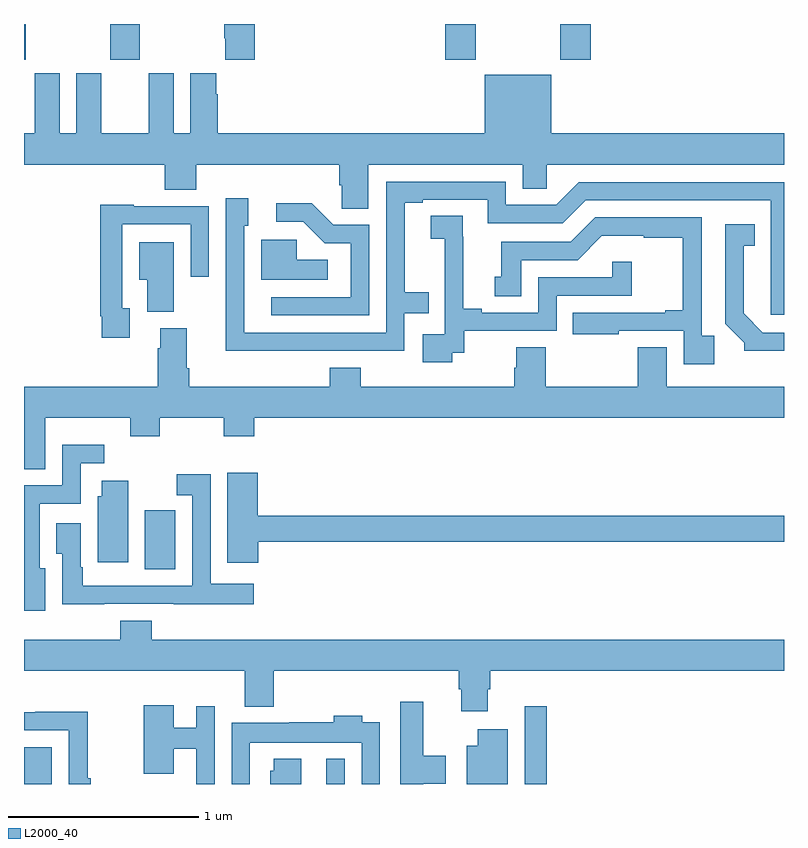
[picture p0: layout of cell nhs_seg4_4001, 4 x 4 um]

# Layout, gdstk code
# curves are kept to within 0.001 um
import gdstk
lib = gdstk.Library(unit=1e-6, precision=1e-09)
def R(c, l, rs):  # rectangles x0, y0, x1, y1
    for r in rs: c.add(gdstk.rectangle(r[:2], r[2:], *l))
def P(c, l, *ps):  # polygons
    for p in ps: c.add(gdstk.Polygon(p, *l))
L2000_40 = (2000, 40)

nhs_seg4_4001 = lib.new_cell('nhs_seg4_4001')
R(nhs_seg4_4001, L2000_40, [(323,786.9,323.146,787.093), (324.59,786.9,324.687,787.033), (325.635,786.9,325.751,787.309), (323.636,788.029,323.797,788.34), (323,790.713,323.01,790.9), (323.455,790.713,323.61,790.9), (325.217,790.713,325.377,790.9), (325.822,790.713,325.982,790.9)])
P(nhs_seg4_4001, L2000_40, [(324.215,790.9),(324.055,790.9),(324.055,790.825),(324.059,790.825),(324.059,790.713),(324.215,790.713)],
  [(324.811,790.16),(325.625,790.16),(325.625,790.033),(325.752,790.033),(325.752,790.16),(327,790.16),(327,790.324),(325.774,790.324),(325.774,790.633),(325.424,790.633),(325.424,790.324),(324.02,790.324),(324.02,790.529),(324.013,790.529),(324.013,790.642),(323.876,790.642),(323.876,790.324),(323.788,790.324),(323.788,790.642),(323.657,790.642),(323.657,790.324),(323.407,790.324),(323.407,790.642),(323.276,790.642),(323.276,790.324),(323.188,790.324),(323.188,790.642),(323.057,790.642),(323.057,790.324),(323,790.324),(323,790.16),(323.741,790.16),(323.741,790.027),(323.906,790.027),(323.906,790.16),(324.659,790.16),(324.659,790.051),(324.672,790.051),(324.672,789.928),(324.811,789.928)],
  [(324.524,789.18),(325.002,789.18),(325.002,789.378),(325.13,789.378),(325.13,789.487),(325.003,789.487),(325.003,789.96),(325.099,789.96),(325.099,789.975),(325.44,789.975),(325.44,789.852),(325.836,789.852),(325.956,789.972),(326.931,789.972),(326.93,789.369),(327,789.369),(327,790.068),(325.92,790.068),(325.8,789.948),(325.536,789.948),(325.536,790.071),(324.906,790.071),(324.906,789.276),(324.159,789.276),(324.159,789.837),(324.181,789.837),(324.181,789.982),(324.063,789.982),(324.062,789.179)],
  [(324.816,789.843),(324.627,789.843),(324.514,789.956),(324.327,789.956),(324.327,789.858),(324.471,789.858),(324.582,789.747),(324.72,789.747),(324.72,789.462),(324.3,789.462),(324.3,789.366),(324.816,789.366)],
  [(323.557,789.405),(323.517,789.405),(323.517,789.846),(323.877,789.846),(323.877,789.57),(323.973,789.57),(323.973,789.942),(323.577,789.942),(323.577,789.949),(323.401,789.949),(323.401,789.361),(323.409,789.361),(323.409,789.249),(323.557,789.249)],
  [(325.254,789.171),(325.316,789.171),(325.316,789.285),(325.803,789.285),(325.803,789.471),(326.198,789.471),(326.198,789.649),(326.097,789.649),(326.097,789.567),(325.707,789.567),(325.707,789.381),(325.408,789.381),(325.408,789.401),(325.312,789.401),(325.312,789.779),(325.31,789.779),(325.31,789.89),(325.14,789.89),(325.14,789.769),(325.214,789.769),(325.214,789.571),(325.215,789.571),(325.215,789.267),(325.098,789.267),(325.098,789.12),(325.254,789.12)],
  [(326.633,789.259),(326.568,789.259),(326.568,789.882),(326.007,789.882),(325.878,789.753),(325.511,789.753),(325.511,789.57),(325.478,789.57),(325.478,789.466),(325.618,789.466),(325.618,789.657),(325.914,789.657),(326.042,789.785),(326.261,789.785),(326.261,789.774),(326.467,789.774),(326.467,789.394),(326.375,789.394),(326.375,789.381),(325.888,789.381),(325.888,789.266),(326.131,789.266),(326.131,789.285),(326.472,789.285),(326.472,789.108),(326.633,789.108)],
  [(327,789.276),(326.889,789.276),(326.788,789.377),(326.788,789.734),(326.846,789.734),(326.846,789.847),(326.691,789.847),(326.691,789.322),(326.79,789.223),(326.79,789.179),(327,789.179)],
  [(324.598,789.658),(324.435,789.658),(324.435,789.765),(324.248,789.765),(324.248,789.554),(324.598,789.554)],
  [(323.788,789.751),(323.606,789.751),(323.606,789.554),(323.648,789.554),(323.648,789.385),(323.788,789.385)],
  [(323.113,788.828),(323.56,788.828),(323.56,788.729),(323.715,788.729),(323.715,788.828),(324.052,788.828),(324.052,788.729),(324.212,788.729),(324.212,788.828),(327,788.828),(327,788.992),(326.383,788.992),(326.383,789.2),(326.231,789.2),(326.231,788.992),(325.745,788.992),(325.745,789.2),(325.592,789.2),(325.592,789.09),(325.58,789.09),(325.58,788.992),(324.773,788.992),(324.773,789.091),(324.608,789.091),(324.608,788.992),(323.87,788.992),(323.87,789.088),(323.857,789.088),(323.857,789.3),(323.717,789.3),(323.717,789.194),(323.705,789.194),(323.705,788.992),(323,788.992),(323,788.557),(323.113,788.557)],
  [(323.113,788.035),(323.083,788.035),(323.083,788.376),(323.298,788.376),(323.298,788.589),(323.422,788.589),(323.422,788.686),(323.202,788.686),(323.202,788.472),(323,788.472),(323,787.811),(323.113,787.811)],
  [(324.232,788.176),(327,788.176),(327,788.312),(324.23,788.312),(324.23,788.539),(324.071,788.539),(324.071,788.064),(324.232,788.064)],
  [(323.423,787.848),(323.789,787.848),(323.789,787.847),(324.208,787.847),(324.208,787.954),(323.982,787.954),(323.982,788.53),(323.805,788.53),(323.805,788.421),(323.886,788.421),(323.886,787.944),(323.31,787.944),(323.31,788.041),(323.298,788.041),(323.298,788.272),(323.171,788.272),(323.171,788.113),(323.202,788.113),(323.202,787.847),(323.423,787.847)],
  [(323.548,788.497),(323.408,788.497),(323.408,788.415),(323.387,788.415),(323.387,788.067),(323.548,788.067)],
  [(325.441,787.398),(325.454,787.398),(325.454,787.496),(327,787.496),(327,787.66),(323.672,787.66),(323.672,787.759),(323.507,787.759),(323.507,787.66),(323,787.66),(323,787.496),(324.161,787.496),(324.161,787.307),(324.314,787.307),(324.314,787.496),(325.289,787.496),(325.289,787.398),(325.301,787.398),(325.301,787.284),(325.441,787.284)],
  [(325.102,786.902),(325.219,786.902),(325.219,787.05),(325.102,787.05),(325.102,787.333),(324.98,787.333),(324.98,786.9),(325.102,786.9)],
  [(324.003,787.309),(323.907,787.309),(323.907,787.195),(323.788,787.195),(323.788,787.315),(323.63,787.315),(323.63,786.954),(323.788,786.954),(323.788,787.085),(323.907,787.085),(323.907,786.9),(324.003,786.9)],
  [(323.351,786.929),(323.336,786.929),(323.336,787.28),(323.059,787.28),(323.059,787.278),(323,787.278),(323,787.182),(323.235,787.182),(323.235,786.9),(323.351,786.9)],
  [(324.189,787.118),(324.777,787.118),(324.777,786.9),(324.873,786.9),(324.873,787.225),(324.781,787.225),(324.781,787.258),(324.629,787.258),(324.629,787.225),(324.397,787.225),(324.397,787.222),(324.093,787.222),(324.093,786.9),(324.189,786.9)],
  [(325.546,787.189),(325.388,787.189),(325.388,787.102),(325.331,787.102),(325.331,786.9),(325.546,786.9)],
  [(324.46,787.033),(324.314,787.033),(324.314,786.969),(324.296,786.969),(324.296,786.9),(324.46,786.9)])

lib.write_gds('nhs_seg4_4001.gds')
